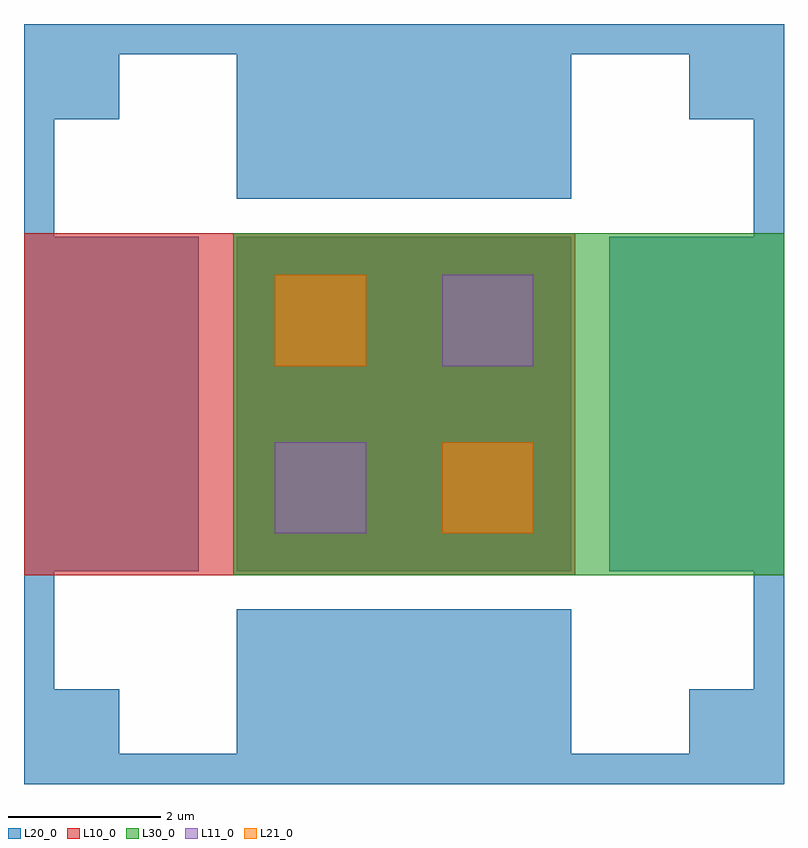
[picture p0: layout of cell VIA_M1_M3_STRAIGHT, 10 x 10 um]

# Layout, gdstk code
import gdstk
lib = gdstk.Library(unit=1e-6, precision=1e-09)
def R(c, l, rs):  # rectangles x0, y0, x1, y1
    for r in rs: c.add(gdstk.rectangle(r[:2], r[2:], *l))
def P(c, l, *ps):  # polygons
    for p in ps: c.add(gdstk.Polygon(p, *l))
L10_0 = (10, 0)
L11_0 = (11, 0)
L20_0 = (20, 0)
L21_0 = (21, 0)
L30_0 = (30, 0)

via_m1_m3_straight = lib.new_cell('VIA_M1_M3_STRAIGHT')
R(via_m1_m3_straight, L10_0, [(0,2.75,7.25,7.25)])
R(via_m1_m3_straight, L11_0, [(3.3,3.3,4.5,4.5), (5.5,5.5,6.7,6.7)])
R(via_m1_m3_straight, L20_0, [(2.8,2.8,7.2,7.2)])
P(via_m1_m3_straight, L20_0, [(0,0),(0,10),(7.2,10),(7.2,7.7),(2.8,7.7),(2.8,9.6),(1.25,9.6),(1.25,8.75),(0.4,8.75),(0.4,7.2),(2.3,7.2),(2.3,2.8),(0.4,2.8),(0.4,1.25),(1.25,1.25),(1.25,0.4),(2.8,0.4),(2.8,2.3),(7.2,2.3),(7.2,0.4),(8.75,0.4),(8.75,1.25),(9.6,1.25),(9.6,2.8),(7.7,2.8),(7.7,7.2),(9.6,7.2),(9.6,8.75),(8.75,8.75),(8.75,9.6),(7.2,9.6),(7.2,10),(10,10),(10,0)])
R(via_m1_m3_straight, L21_0, [(5.5,3.3,6.7,4.5), (3.3,5.5,4.5,6.7)])
R(via_m1_m3_straight, L30_0, [(2.75,2.75,10,7.25)])

lib.write_gds('VIA_M1_M3_STRAIGHT.gds')
